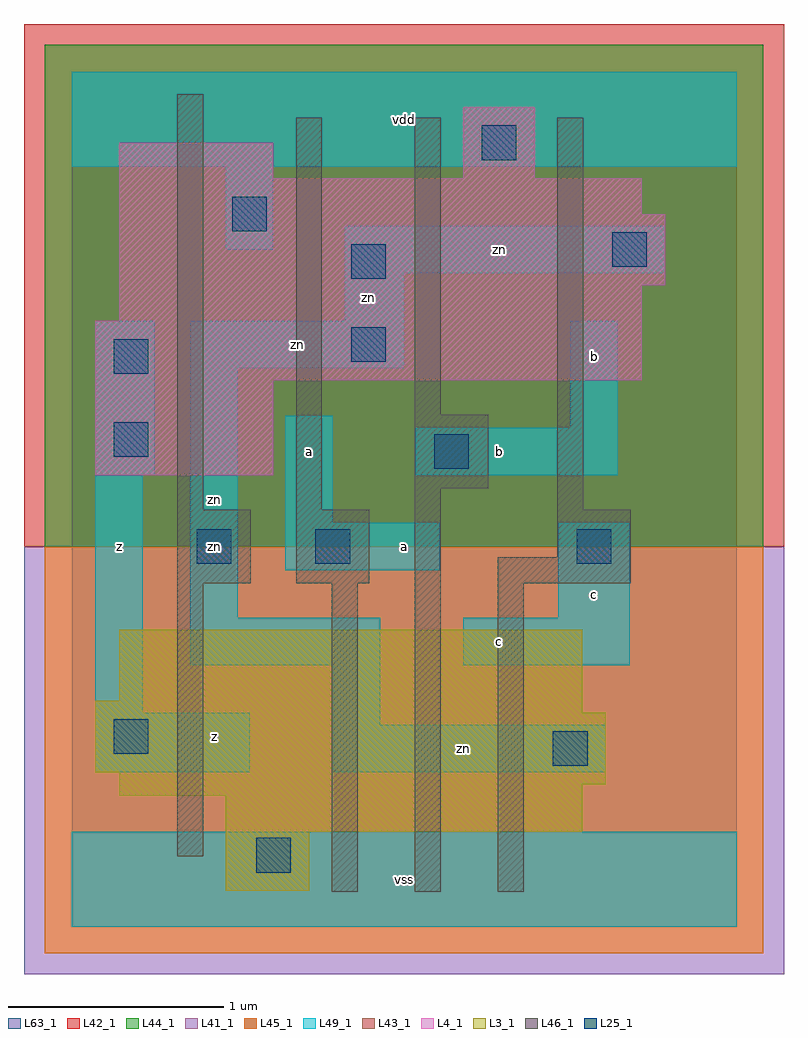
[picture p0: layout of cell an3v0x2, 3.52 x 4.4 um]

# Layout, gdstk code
import gdstk
lib = gdstk.Library(unit=1e-6, precision=1e-09)
def R(c, l, rs):  # rectangles x0, y0, x1, y1
    for r in rs: c.add(gdstk.rectangle(r[:2], r[2:], *l))
L3_1 = (3, 1)
L4_1 = (4, 1)
L25_1 = (25, 1)
L41_1 = (41, 1)
L42_1 = (42, 1)
L43_1 = (43, 1)
L44_1 = (44, 1)
L45_1 = (45, 1)
L46_1 = (46, 1)
L49_1 = (49, 1)
L63_1 = (63, 1)

an3v0x2 = lib.new_cell('an3v0x2')
R(an3v0x2, L3_1, [(0.715,0.165,1.1,0.44), (0.715,0.44,2.365,0.605), (0.22,0.605,2.365,0.66), (0.22,0.66,2.475,0.715), (0.11,0.715,2.475,0.99), (0.11,0.99,2.365,1.045), (0.22,1.045,2.365,1.375)])
R(an3v0x2, L4_1, [(0.11,2.09,0.935,2.53), (0.11,2.53,2.64,2.805), (0.22,2.805,2.64,2.97), (0.22,2.97,2.75,3.3), (0.22,3.3,2.64,3.465), (0.22,3.465,0.935,3.63), (1.815,3.465,2.145,3.795)])
R(an3v0x2, L25_1, [(0.855,0.25,1.015,0.41), (2.23,0.745,2.39,0.905), (0.195,0.8,0.355,0.96), (0.58,1.68,0.74,1.84), (1.13,1.68,1.29,1.84), (2.34,1.68,2.5,1.84), (1.68,2.12,1.84,2.28), (0.195,2.175,0.355,2.335), (0.195,2.56,0.355,2.72), (1.295,2.615,1.455,2.775), (1.295,3,1.455,3.16), (2.505,3.055,2.665,3.215), (0.745,3.22,0.905,3.38), (1.9,3.55,2.06,3.71)])
R(an3v0x2, L41_1, [(-0.22,-0.22,3.3,1.76)])
R(an3v0x2, L42_1, [(-0.22,1.76,3.3,4.18)])
R(an3v0x2, L43_1, [(0.715,0.165,1.1,0.44), (0.715,0.44,2.365,0.605), (0.22,0.605,2.365,0.66), (0.22,0.66,2.475,0.715), (0.11,0.715,2.475,0.99), (0.11,0.99,2.365,1.045), (0.22,1.045,2.365,1.375), (0.11,2.09,0.935,2.53), (0.11,2.53,2.64,2.805), (0.22,2.805,2.64,2.97), (0.22,2.97,2.75,3.3), (0.22,3.3,2.64,3.465), (0.22,3.465,0.935,3.63), (1.815,3.465,2.145,3.795)])
R(an3v0x2, L44_1, [(-0.125,1.76,3.205,4.085)])
R(an3v0x2, L45_1, [(-0.125,-0.125,3.205,1.76)])
R(an3v0x2, L46_1, [(1.205,0.16,1.325,1.59), (1.59,0.16,1.71,2.03), (1.975,0.16,2.095,1.59), (0.49,0.325,0.61,1.59), (0.49,1.59,0.83,1.93), (1.04,1.59,1.38,1.93), (1.975,1.59,2.59,1.71), (2.25,1.71,2.59,1.93), (0.49,1.93,0.61,3.855), (1.04,1.93,1.16,3.745), (2.25,1.93,2.37,3.745), (1.59,2.03,1.93,2.37), (1.59,2.37,1.71,3.745)])
R(an3v0x2, L49_1, [(0,0,3.08,0.44), (0.11,0.715,0.825,0.99), (1.21,0.715,2.475,0.935), (1.21,0.935,1.43,1.21), (0.11,0.99,0.33,2.09), (0.55,1.21,1.43,1.43), (1.815,1.21,2.585,1.43), (0.55,1.43,0.77,2.585), (2.255,1.43,2.585,1.87), (0.99,1.65,1.705,1.87), (0.99,1.87,1.21,2.365), (0.11,2.09,0.385,2.805), (1.595,2.09,2.53,2.31), (2.31,2.31,2.53,2.805), (0.55,2.585,1.54,2.805), (1.265,2.805,1.54,3.025), (1.265,3.025,2.75,3.245), (0.715,3.135,0.935,3.52), (0,3.52,3.08,3.96)])
R(an3v0x2, L63_1, [(0,0,3.08,3.96)])
an3v0x2.add(gdstk.Label('zn', (0.66,1.76), layer=49, texttype=1))
an3v0x2.add(gdstk.Label('z', (0.22,1.76), layer=49, texttype=1))
an3v0x2.add(gdstk.Label('z', (0.66,0.88), layer=49, texttype=1))
an3v0x2.add(gdstk.Label('a', (1.1,2.2), layer=49, texttype=1))
an3v0x2.add(gdstk.Label('zn', (0.66,1.98), layer=49, texttype=1))
an3v0x2.add(gdstk.Label('vss', (1.54,0.22), layer=49, texttype=1))
an3v0x2.add(gdstk.Label('a', (1.54,1.76), layer=49, texttype=1))
an3v0x2.add(gdstk.Label('c', (1.98,1.32), layer=49, texttype=1))
an3v0x2.add(gdstk.Label('b', (1.98,2.2), layer=49, texttype=1))
an3v0x2.add(gdstk.Label('zn', (1.045,2.695), layer=49, texttype=1))
an3v0x2.add(gdstk.Label('zn', (1.375,2.915), layer=49, texttype=1))
an3v0x2.add(gdstk.Label('vdd', (1.54,3.74), layer=49, texttype=1))
an3v0x2.add(gdstk.Label('zn', (1.815,0.825), layer=49, texttype=1))
an3v0x2.add(gdstk.Label('c', (2.42,1.54), layer=49, texttype=1))
an3v0x2.add(gdstk.Label('b', (2.42,2.64), layer=49, texttype=1))
an3v0x2.add(gdstk.Label('zn', (1.98,3.135), layer=49, texttype=1))

lib.write_gds('an3v0x2.gds')
